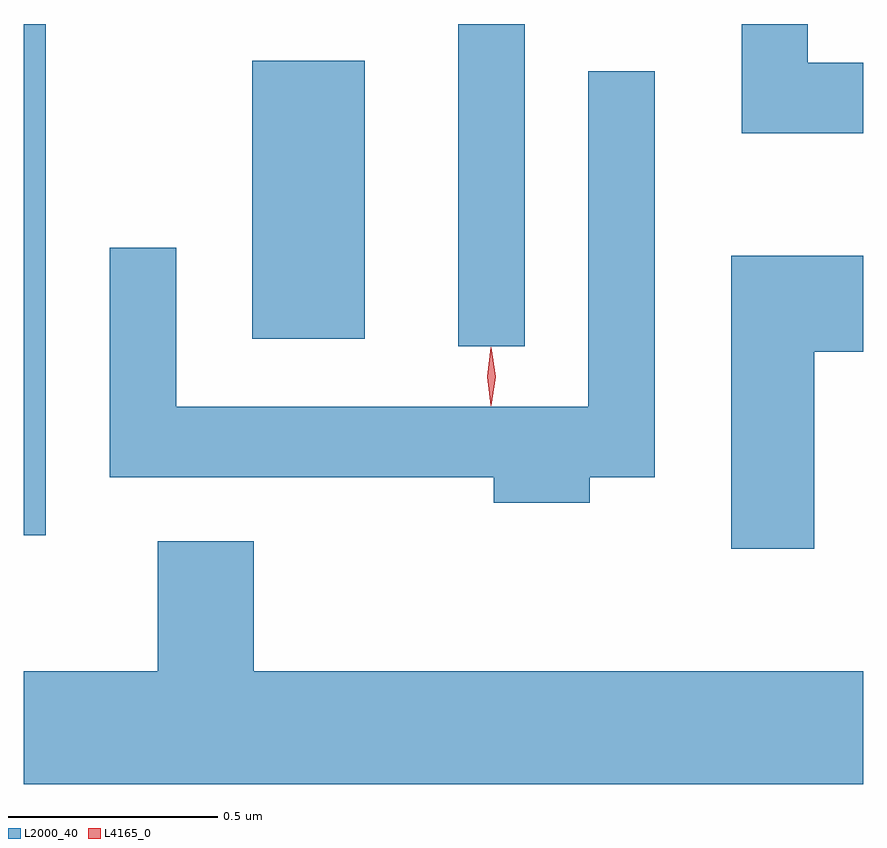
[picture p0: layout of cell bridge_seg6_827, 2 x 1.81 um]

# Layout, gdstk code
import gdstk
lib = gdstk.Library(unit=1e-6, precision=1e-09)
def R(c, l, rs):  # rectangles x0, y0, x1, y1
    for r in rs: c.add(gdstk.rectangle(r[:2], r[2:], *l))
def P(c, l, *ps):  # polygons
    for p in ps: c.add(gdstk.Polygon(p, *l))
L2000_40 = (2000, 40)
L4165_0 = (4165, 0)

bridge_seg6_827 = lib.new_cell('bridge_seg6_827')
R(bridge_seg6_827, L2000_40, [(484.451,1535.088,484.504,1536.306), (485.486,1535.538,485.644,1536.306), (484.996,1535.556,485.264,1536.219)])
P(bridge_seg6_827, L2000_40, [(486.451,1536.214),(486.319,1536.214),(486.319,1536.306),(486.161,1536.306),(486.161,1536.046),(486.451,1536.046)],
  [(485.799,1535.226),(485.954,1535.226),(485.954,1536.193),(485.796,1536.193),(485.796,1535.394),(484.814,1535.394),(484.814,1535.773),(484.656,1535.773),(484.656,1535.226),(485.571,1535.226),(485.571,1535.166),(485.799,1535.166)],
  [(486.334,1535.526),(486.451,1535.526),(486.451,1535.754),(486.136,1535.754),(486.136,1535.056),(486.334,1535.056)],
  [(486.451,1534.764),(484.999,1534.764),(484.999,1535.074),(484.771,1535.074),(484.771,1534.764),(484.451,1534.764),(484.451,1534.496),(486.451,1534.496)])
P(bridge_seg6_827, L4165_0, [(485.564,1535.397),(485.555,1535.466),(485.564,1535.536),(485.565,1535.536),(485.565,1535.536),(485.575,1535.466),(485.565,1535.397),(485.565,1535.397)],
  [(485.565,1535.399),(485.564,1535.4),(485.555,1535.466),(485.564,1535.532),(485.565,1535.533),(485.565,1535.532),(485.575,1535.466),(485.565,1535.4)])

lib.write_gds('bridge_seg6_827.gds')
